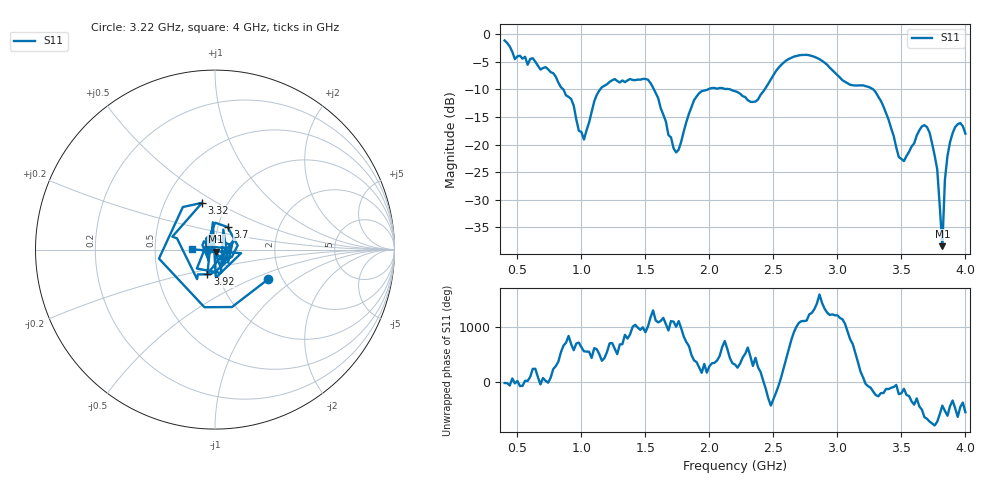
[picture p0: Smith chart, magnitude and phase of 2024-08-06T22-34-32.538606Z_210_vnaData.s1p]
!Created with skrf (http://scikit-rf.org).
# Hz S RI R 50.0
!freq ReS11 ImS11
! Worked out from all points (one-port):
!   181 points, 400 MHz to 4 GHz, reference 50 ohm
!   lowest |S11| = -38.4 dB at 3.82 GHz (marker M1), VSWR 1.02, Z = 50.5 - j1.08 ohm
!   |S11| at or under -10 dB: 858.5 MHz to 1.147 GHz (288.5 MHz wide, 28.8 % of centre); 1.567 GHz to 1.99 GHz (423 MHz wide, 23.8 % of centre); 3.28 GHz to end of sweep (the widest 3 of 4)
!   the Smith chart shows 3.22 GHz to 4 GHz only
!   S11 on the Smith chart (normalised r, x): 3.22 GHz: 1.68, -0.63; 3.32 GHz: 0.76, +0.43; 3.7 GHz: 1.11, +0.29; 3.92 GHz: 0.89, -0.25; 4 GHz: 0.78, +0.00
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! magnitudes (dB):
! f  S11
! 400 MHz  -1.1
! 480 MHz  -4.5
! 620 MHz  -4.4
! 860 MHz  -10.0
! 920 MHz  -11.7
! 1.02 GHz  -19.1
! 1.14 GHz  -10.2
! 1.3 GHz  -8.8
! 1.52 GHz  -8.2
! 1.72 GHz  -20.7
! 1.76 GHz  -20.9
! 1.92 GHz  -10.7
! 2.2 GHz  -10.3
! 2.36 GHz  -12.2
! 2.66 GHz  -4.1
! 2.86 GHz  -4.5
! 3.1 GHz  -9.2
! 3.22 GHz  -9.4
! 3.32 GHz  -11.4
! 3.48 GHz  -22.3
! 3.56 GHz  -21.3
! 3.7 GHz  -16.8
! 3.78 GHz  -24.5
! 3.82 GHz  -38.4
! 3.84 GHz  -26.4
! 3.88 GHz  -19.6
! 3.92 GHz  -16.8
! 4 GHz  -18.0
